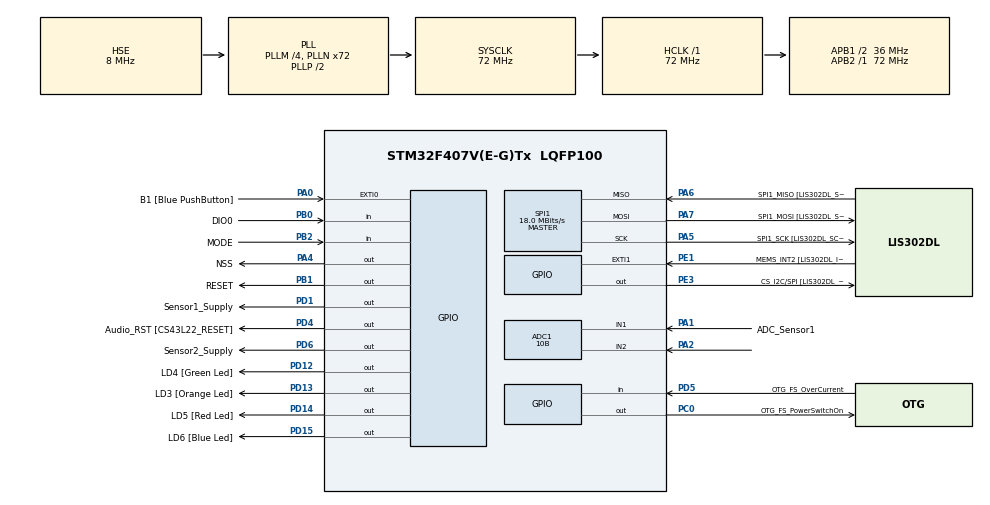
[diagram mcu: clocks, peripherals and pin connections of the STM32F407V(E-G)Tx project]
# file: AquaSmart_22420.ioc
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ADC1.Channel-4\#ChannelRegularConversion=ADC_CHANNEL_1
ADC1.ContinuousConvMode=DISABLE
ADC1.InjNumberOfConversion=0
ADC1.NbrOfConversion=1
ADC1.NbrOfConversionFlag=1
ADC1.Rank-4\#ChannelRegularConversion=1
ADC1.Resolution=ADC_RESOLUTION_10B
ADC1.SamplingTime-4\#ChannelRegularConversion=ADC_SAMPLETIME_3CYCLES
ADC1.master=1
FREERTOS.Queues01=myQueueSensor1,1,sensor_t,0,Dynamic,NULL,NULL;myQueueSensor2,2,sensor_t,0,Dynamic,NULL,NULL;myQueueDataSaved,2,t_bool,0,Dynamic,NULL,NULL
FREERTOS.Tasks01=defaultTask,24,512,StartDefaultTask,Default,NULL,Dynamic,NULL,NULL;myTaskSensor1,10,512,StartTaskSensor1,Default,fsm_s1,Dynamic,NULL,NULL;myTaskLoRa,16,512,StartTaskLoRa,Default,NULL,Dynamic,NULL,NULL;myTaskSensor2,10,512,StartTaskSensor2,Default,fsm_s2,Dynamic,NULL,NULL;myTaskLEDs,11,512,StartTaskLEDs,Default,NULL,Dynamic,NULL,NULL
FREERTOS.configTICK_RATE_HZ=1000
FREERTOS.configUSE_TICKLESS_IDLE=1
Mcu.Family=STM32F4
Mcu.Name=STM32F407V(E-G)Tx
Mcu.Package=LQFP100
NVIC.PriorityGroup=NVIC_PRIORITYGROUP_4
PA0-WKUP.GPIO_Label=B1 [Blue PushButton]
PA0-WKUP.GPIO_ModeDefaultEXTI=GPIO_MODE_EVT_RISING
PA0-WKUP.GPIO_PuPd=GPIO_NOPULL
PA0-WKUP.Signal=GPXTI0
PA1.GPIO_Label=ADC_Sensor1
PA1.Signal=ADCx_IN1
PA10.GPIO_Label=OTG_FS_ID
PA10.GPIO_Mode=GPIO_MODE_AF_PP
PA10.GPIO_PuPd=GPIO_NOPULL
PA10.GPIO_Speed=GPIO_SPEED_FREQ_LOW
PA10.Signal=USB_OTG_FS_ID
PA11.GPIO_Label=OTG_FS_DM
PA11.GPIO_Mode=GPIO_MODE_AF_PP
PA11.GPIO_PuPd=GPIO_NOPULL
PA11.GPIO_Speed=GPIO_SPEED_FREQ_LOW
PA11.Signal=USB_OTG_FS_DM
PA12.GPIO_Label=OTG_FS_DP
PA12.GPIO_Mode=GPIO_MODE_AF_PP
PA12.GPIO_PuPd=GPIO_NOPULL
PA12.GPIO_Speed=GPIO_SPEED_FREQ_LOW
PA12.Signal=USB_OTG_FS_DP
PA13.Mode=Trace_Asynchronous_SW
PA13.Signal=SYS_JTMS-SWDIO
PA14.Mode=Trace_Asynchronous_SW
PA14.Signal=SYS_JTCK-SWCLK
PA2.Signal=ADCx_IN2
PA4.GPIO_Label=NSS
PA4.PinState=GPIO_PIN_SET
PA4.Signal=GPIO_Output
PA5.GPIO_Label=SPI1_SCK [LIS302DL_SCL/SPC]
PA5.GPIO_Mode=GPIO_MODE_AF_PP
PA5.GPIO_PuPd=GPIO_NOPULL
PA5.GPIO_Speed=GPIO_SPEED_FREQ_HIGH
PA5.Mode=Full_Duplex_Master
PA5.Signal=SPI1_SCK
PA6.GPIO_Label=SPI1_MISO [LIS302DL_SDO]
PA6.GPIO_Mode=GPIO_MODE_AF_PP
PA6.GPIO_PuPd=GPIO_NOPULL
PA6.GPIO_Speed=GPIO_SPEED_FREQ_HIGH
PA6.Mode=Full_Duplex_Master
PA6.Signal=SPI1_MISO
PA7.GPIO_Label=SPI1_MOSI [LIS302DL_SDA/SDI/SDO]
PA7.GPIO_Mode=GPIO_MODE_AF_PP
PA7.GPIO_PuPd=GPIO_NOPULL
PA7.GPIO_Speed=GPIO_SPEED_FREQ_HIGH
PA7.Mode=Full_Duplex_Master
PA7.Signal=SPI1_MOSI
PA9.GPIO_Label=VBUS_FS
PA9.GPIO_Mode=GPIO_MODE_INPUT
PA9.GPIO_PuPd=GPIO_NOPULL
PA9.Signal=USB_OTG_FS_VBUS
PB0.GPIO_Label=DIO0
PB0.Signal=GPIO_Input
PB1.GPIO_Label=RESET
PB1.PinState=GPIO_PIN_SET
PB1.Signal=GPIO_Output
PB10.GPIO_Label=CLK_IN [MP45DT02_CLK]
PB10.GPIO_Mode=GPIO_MODE_AF_PP
PB10.GPIO_PuPd=GPIO_NOPULL
PB10.GPIO_Speed=GPIO_SPEED_FREQ_LOW
PB10.Signal=I2S2_CK
PB2.GPIO_Label=MODE
PB2.GPIO_Mode=GPIO_MODE_INPUT
PB2.GPIO_PuPd=GPIO_NOPULL
PB2.Signal=GPIO_Input
PB3.Mode=Trace_Asynchronous_SW
PB3.Signal=SYS_JTDO-SWO
PB6.GPIO_Label=Audio_SCL [CS43L22_SCL]
PB6.GPIO_Mode=GPIO_MODE_AF_OD
PB6.GPIO_PuPd=GPIO_NOPULL
PB6.GPIO_Speed=GPIO_SPEED_FREQ_LOW
PB6.Signal=I2C1_SCL
PB9.GPIO_Label=Audio_SDA [CS43L22_SDA]
PB9.GPIO_Mode=GPIO_MODE_AF_OD
PB9.GPIO_PuPd=GPIO_NOPULL
PB9.GPIO_Speed=GPIO_SPEED_FREQ_LOW
PB9.Signal=I2C1_SDA
PC0.GPIO_Label=OTG_FS_PowerSwitchOn
PC0.GPIO_PuPd=GPIO_NOPULL
PC0.GPIO_Speed=GPIO_SPEED_FREQ_LOW
PC0.PinState=GPIO_PIN_SET
PC0.Signal=GPIO_Output
PC10.GPIO_Label=I2S3_SCK [CS43L22_SCLK]
PC10.GPIO_Mode=GPIO_MODE_AF_PP
PC10.GPIO_PuPd=GPIO_NOPULL
PC10.GPIO_Speed=GPIO_SPEED_FREQ_LOW
PC10.Signal=I2S3_CK
PC12.GPIO_Label=I2S3_SD [CS43L22_SDIN]
PC12.GPIO_Mode=GPIO_MODE_AF_PP
PC12.GPIO_PuPd=GPIO_NOPULL
PC12.GPIO_Speed=GPIO_SPEED_FREQ_LOW
PC12.Signal=I2S3_SD
PC14-OSC32_IN.GPIO_Label=PC14-OSC32_IN
PC14-OSC32_IN.Mode=LSE-External-Clock-Source
PC14-OSC32_IN.Signal=RCC_OSC32_IN
PC15-OSC32_OUT.GPIO_Label=PC15-OSC32_OUT
PC15-OSC32_OUT.Mode=LSE-External-Clock-Source
PC15-OSC32_OUT.Signal=RCC_OSC32_OUT
PC3.GPIO_Label=PDM_OUT [MP45DT02_DOUT]
PC3.GPIO_Mode=GPIO_MODE_AF_PP
PC3.GPIO_PuPd=GPIO_NOPULL
PC3.GPIO_Speed=GPIO_SPEED_FREQ_LOW
PC3.Signal=I2S2_SD
PC7.GPIO_Label=I2S3_MCK [CS43L22_MCLK]
PC7.GPIO_Mode=GPIO_MODE_AF_PP
PC7.GPIO_PuPd=GPIO_NOPULL
PC7.GPIO_Speed=GPIO_SPEED_FREQ_LOW
PC7.Signal=I2S3_MCK
PD1.GPIO_Label=Sensor1_Supply
PD1.Signal=GPIO_Output
PD12.GPIO_Label=LD4 [Green Led]
PD12.GPIO_PuPd=GPIO_NOPULL
PD12.GPIO_Speed=GPIO_SPEED_FREQ_LOW
PD12.Signal=GPIO_Output
PD13.GPIO_Label=LD3 [Orange Led]
PD13.GPIO_PuPd=GPIO_NOPULL
PD13.GPIO_Speed=GPIO_SPEED_FREQ_LOW
PD13.Signal=GPIO_Output
PD14.GPIO_Label=LD5 [Red Led]
PD14.GPIO_PuPd=GPIO_NOPULL
PD14.GPIO_Speed=GPIO_SPEED_FREQ_LOW
PD14.Signal=GPIO_Output
PD15.GPIO_Label=LD6 [Blue Led]
PD15.GPIO_PuPd=GPIO_NOPULL
PD15.GPIO_Speed=GPIO_SPEED_FREQ_LOW
PD15.Signal=GPIO_Output
PD4.GPIO_Label=Audio_RST [CS43L22_RESET]
PD4.GPIO_PuPd=GPIO_NOPULL
PD4.GPIO_Speed=GPIO_SPEED_FREQ_LOW
PD4.Signal=GPIO_Output
PD5.GPIO_Label=OTG_FS_OverCurrent
PD5.GPIO_Mode=GPIO_MODE_INPUT
PD5.GPIO_PuPd=GPIO_NOPULL
PD5.Signal=GPIO_Input
PD6.GPIO_Label=Sensor2_Supply
PD6.Signal=GPIO_Output
PE1.GPIO_Label=MEMS_INT2 [LIS302DL_INT2]
PE1.GPIO_ModeDefaultEXTI=GPIO_MODE_EVT_RISING
PE1.GPIO_PuPd=GPIO_NOPULL
PE1.Signal=GPXTI1
PE3.GPIO_Label=CS_I2C/SPI [LIS302DL_CS_I2C/SPI]
PE3.GPIO_PuPd=GPIO_NOPULL
PE3.GPIO_Speed=GPIO_SPEED_FREQ_LOW
PE3.Signal=GPIO_Output
PH0-OSC_IN.GPIO_Label=PH0-OSC_IN
PH0-OSC_IN.Mode=HSE-External-Oscillator
PH0-OSC_IN.Signal=RCC_OSC_IN
PH1-OSC_OUT.GPIO_Label=PH1-OSC_OUT
PH1-OSC_OUT.Mode=HSE-External-Oscillator
PH1-OSC_OUT.Signal=RCC_OSC_OUT
ProjectManager.HeapSize=0x200
ProjectManager.StackSize=0x400
ProjectManager.TargetToolchain=STM32CubeIDE
RCC.48MHZClocksFreq_Value=48000000
RCC.AHBFreq_Value=72000000
RCC.APB1CLKDivider=RCC_HCLK_DIV2
RCC.APB1Freq_Value=36000000
RCC.APB1TimFreq_Value=72000000
RCC.APB2Freq_Value=72000000
RCC.APB2TimFreq_Value=72000000
RCC.CortexFreq_Value=72000000
RCC.HCLKFreq_Value=72000000
RCC.HSE_VALUE=8000000
RCC.HSI_VALUE=16000000
RCC.LSE_VALUE=32768
RCC.PLLM=4
RCC.PLLN=72
RCC.PLLQ=3
RCC.PLLSourceVirtual=RCC_PLLSOURCE_HSE
RCC.SYSCLKFreq_VALUE=72000000
RCC.SYSCLKSource=RCC_SYSCLKSOURCE_PLLCLK
RCC.VCOOutputFreq_Value=144000000
SH.ADCx_IN1.0=ADC1_IN1,IN1
SH.ADCx_IN2.0=ADC1_IN2,IN2
SPI1.BaudRatePrescaler=SPI_BAUDRATEPRESCALER_4
SPI1.BaudRatePrescaler-Full_Duplex_Master=SPI_BAUDRATEPRESCALER_2
SPI1.CalculateBaudRate=18.0 MBits/s
SPI1.CalculateBaudRate-Full_Duplex_Master=42.0 MBits/s
SPI1.Direction=SPI_DIRECTION_2LINES
SPI1.Mode=SPI_MODE_MASTER
SPI1.Mode-Full_Duplex_Master=SPI_MODE_MASTER
SPI1.VirtualType=VM_MASTER
VP_FREERTOS_VS_CMSIS_V2.Mode=CMSIS_V2
board=STM32F407G-DISC1

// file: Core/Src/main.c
/* USER CODE BEGIN Header */
/**
  ******************************************************************************
  * @file           : main.c
  * @brief          : Main program body
  ******************************************************************************
  * @attention
  *
  * <h2><center>&copy; Copyright (c) 2020 STMicroelectronics.
  * All rights reserved.</center></h2>
  *
  * This software component is licensed by ST under Ultimate Liberty license
  * SLA0044, the "License"; You may not use this file except in compliance with
  * the License. You may obtain a copy of the License at:
  *                             www.st.com/SLA0044
  *
  ******************************************************************************
  */
/* USER CODE END Header */

#include "main.h"
#include "cmsis_os.h"
#include "adc.h"
#include "spi.h"
#include "gpio.h"

/* USER CODE BEGIN Includes */
#include "fsm.h"
#include "fsm_sensor.h"
#include "stdio.h"
#include "SX1278.h"

/* USER CODE END Includes */

/* USER CODE BEGIN PD */

/*PH sensor params*/
/* USER CODE END PD */

/* USER CODE BEGIN PV */

SX1278_hw_t SX1278_hw;
SX1278_t SX1278;

rbuf_t data_ring_buff;

/* USER CODE END PV */

void SystemClock_Config(void);
void MX_FREERTOS_Init(void);

int main(void)
{
  /* USER CODE BEGIN 1 */
  //fsm_t* fsm_LoRa;

  /* USER CODE END 1 */

  /* MCU Configuration--------------------------------------------------------*/

  /* Reset of all peripherals, Initializes the Flash interface and the Systick. */
  HAL_Init();

  /* Configure the system clock */
  SystemClock_Config();

  /* Initialize all configured peripherals */
  MX_GPIO_Init();
  MX_SPI1_Init();
  MX_ADC1_Init();

  /* Init scheduler */
  osKernelInitialize();  /* Call init function for freertos objects (in freertos.c) */
  MX_FREERTOS_Init();
  /* Start scheduler */
  osKernelStart();

  /* We should never get here as control is now taken by the scheduler */
  /* Infinite loop */
  while (1)
  {

  }
}

void SystemClock_Config(void)
{
  RCC_OscInitTypeDef RCC_OscInitStruct = {0};
  RCC_ClkInitTypeDef RCC_ClkInitStruct = {0};

  /** Configure the main internal regulator output voltage
  */
  __HAL_RCC_PWR_CLK_ENABLE();
  __HAL_PWR_VOLTAGESCALING_CONFIG(PWR_REGULATOR_VOLTAGE_SCALE1);
  /** Initializes the CPU, AHB and APB busses clocks
  */
  RCC_OscInitStruct.OscillatorType = RCC_OSCILLATORTYPE_HSE;
  RCC_OscInitStruct.HSEState = RCC_HSE_ON;
  RCC_OscInitStruct.PLL.PLLState = RCC_PLL_ON;
  RCC_OscInitStruct.PLL.PLLSource = RCC_PLLSOURCE_HSE;
  RCC_OscInitStruct.PLL.PLLM = 4;
  RCC_OscInitStruct.PLL.PLLN = 72;
  RCC_OscInitStruct.PLL.PLLP = RCC_PLLP_DIV2;
  RCC_OscInitStruct.PLL.PLLQ = 3;
  if (HAL_RCC_OscConfig(&RCC_OscInitStruct) != HAL_OK)
  {
    Error_Handler();
  }
  /** Initializes the CPU, AHB and APB busses clocks
  */
  RCC_ClkInitStruct.ClockType = RCC_CLOCKTYPE_HCLK|RCC_CLOCKTYPE_SYSCLK
                              |RCC_CLOCKTYPE_PCLK1|RCC_CLOCKTYPE_PCLK2;
  RCC_ClkInitStruct.SYSCLKSource = RCC_SYSCLKSOURCE_PLLCLK;
  RCC_ClkInitStruct.AHBCLKDivider = RCC_SYSCLK_DIV1;
  RCC_ClkInitStruct.APB1CLKDivider = RCC_HCLK_DIV2;
  RCC_ClkInitStruct.APB2CLKDivider = RCC_HCLK_DIV1;

  if (HAL_RCC_ClockConfig(&RCC_ClkInitStruct, FLASH_LATENCY_2) != HAL_OK)
  {
    Error_Handler();
  }
}

/* USER CODE BEGIN 4 */

void adc_config_ch1(void)
{
	ADC_ChannelConfTypeDef sConfig = {0};

	sConfig.Channel = ADC_CHANNEL_1;
	sConfig.Rank = 1;
	sConfig.SamplingTime = ADC_SAMPLETIME_3CYCLES;

	if (HAL_ADC_ConfigChannel(&hadc1, &sConfig) != HAL_OK)
	{
		Error_Handler();
	}
}

void adc_config_ch2(void)
{

	ADC_ChannelConfTypeDef sConfig = {0};

	sConfig.Channel = ADC_CHANNEL_2;
	sConfig.Rank = 1;
	sConfig.SamplingTime = ADC_SAMPLETIME_3CYCLES;

	if (HAL_ADC_ConfigChannel(&hadc1, &sConfig) != HAL_OK)
	{
		Error_Handler();
	}
}

void save_new_data(sensor_buf_t data)
{

	ringbuf_put(&data_ring_buff, data);
}

void Lora_inicio(int init){
	int ret;
	//initialize LoRa module

	ringbuf_init(&data_ring_buff, RBUF_SIZE);

	SX1278_hw.dio0.port = DIO0_GPIO_Port;
	SX1278_hw.dio0.pin = DIO0_Pin;
	SX1278_hw.nss.port = NSS_GPIO_Port;
	SX1278_hw.nss.pin = NSS_Pin;
	SX1278_hw.reset.port = RESET_GPIO_Port;
	SX1278_hw.reset.pin = RESET_Pin;
	SX1278_hw.spi = &hspi1;
	SX1278.readBytes=0;
	SX1278.rxBuffer[0]=0;
	SX1278.hw = &SX1278_hw;

//	printf("Configuring LoRa module\r\n");
//	SX1278_begin(&SX1278, SX1278_433MHZ, SX1278_POWER_17DBM, SX1278_LORA_SF_8,
//			SX1278_LORA_BW_20_8KHZ, 10);
//	printf("Done configuring LoRaModule\r\n");
//	while (ret!=1){
//		if (init == 1) {
//			ret = SX1278_LoRaEntryTx(&SX1278, 16, 2000);
//		} else {
//			ret = SX1278_LoRaEntryRx(&SX1278, 16, 2000); //tiene que valer 1
//		}
//		printf("ret: %d\n", ret);
//	}
}

void Lora_envia(void){
	int ret;
	char buffer[64];
	int message_length;
	sensor_buf_t data;

	data = ringbuf_get(&data_ring_buff);

	message_length = sprintf(buffer, "AquaSmart %d %d %d %d %d %d %d", data.Device_ID, data.Sensor_ID, data.measure, data.alarm, data.error, data.threshold_L, data.threshold_H);
//	ret = SX1278_LoRaEntryTx(&SX1278, message_length, 2000);
//	printf("Sending %s\r\n", buffer);
//	ret = SX1278_LoRaTxPacket(&SX1278, (uint8_t *) buffer, message_length, 2000);
}

void Lora_recibe(void){
	int ret;
	char buffer[64];
//	ret = SX1278_LoRaRxPacket(&SX1278);
//	if (ret > 0) {
//		SX1278_read(&SX1278, (uint8_t *) buffer, ret);
//		printf("Content (%d): %s\r\n", ret, buffer);
//	}
}

/* USER CODE END 4 */

void Error_Handler(void)
{
}

/************************ (C) COPYRIGHT STMicroelectronics *****END OF FILE****/

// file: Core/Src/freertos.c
/* USER CODE BEGIN Header */
/**
  ******************************************************************************
  * File Name          : freertos.c
  * Description        : Code for freertos applications
  ******************************************************************************
  * @attention
  *
  * <h2><center>&copy; Copyright (c) 2020 STMicroelectronics.
  * All rights reserved.</center></h2>
  *
  * This software component is licensed by ST under Ultimate Liberty license
  * SLA0044, the "License"; You may not use this file except in compliance with
  * the License. You may obtain a copy of the License at:
  *                             www.st.com/SLA0044
  *
  ******************************************************************************
  */
/* USER CODE END Header */

#include "FreeRTOS.h"
#include "task.h"
#include "main.h"
#include "cmsis_os.h"

/* USER CODE BEGIN Includes */
#include "fsm.h"
#include "fsm_sensor.h"

/* USER CODE END Includes */

/* USER CODE BEGIN Variables */
t_bool sensor1_ON, sensor2_ON;

/* USER CODE END Variables */
/* Definitions for defaultTask */
osThreadId_t defaultTaskHandle;
const osThreadAttr_t defaultTask_attributes = {
  .name = "defaultTask",
  .priority = (osPriority_t) osPriorityNormal,
  .stack_size = 512 * 4
};
/* Definitions for myTaskSensor1 */
osThreadId_t myTaskSensor1Handle;
const osThreadAttr_t myTaskSensor1_attributes = {
  .name = "myTaskSensor1",
  .priority = (osPriority_t) osPriorityLow2,
  .stack_size = 512 * 4
};
/* Definitions for myTaskLoRa */
osThreadId_t myTaskLoRaHandle;
const osThreadAttr_t myTaskLoRa_attributes = {
  .name = "myTaskLoRa",
  .priority = (osPriority_t) osPriorityBelowNormal,
  .stack_size = 512 * 4
};
/* Definitions for myTaskSensor2 */
osThreadId_t myTaskSensor2Handle;
const osThreadAttr_t myTaskSensor2_attributes = {
  .name = "myTaskSensor2",
  .priority = (osPriority_t) osPriorityLow2,
  .stack_size = 512 * 4
};
/* Definitions for myTaskLEDs */
osThreadId_t myTaskLEDsHandle;
const osThreadAttr_t myTaskLEDs_attributes = {
  .name = "myTaskLEDs",
  .priority = (osPriority_t) osPriorityLow3,
  .stack_size = 512 * 4
};
/* Definitions for myQueueSensor1 */
osMessageQueueId_t myQueueSensor1Handle;
const osMessageQueueAttr_t myQueueSensor1_attributes = {
  .name = "myQueueSensor1"
};
/* Definitions for myQueueSensor2 */
osMessageQueueId_t myQueueSensor2Handle;
const osMessageQueueAttr_t myQueueSensor2_attributes = {
  .name = "myQueueSensor2"
};
/* Definitions for myQueueDataSaved */
osMessageQueueId_t myQueueDataSavedHandle;
const osMessageQueueAttr_t myQueueDataSaved_attributes = {
  .name = "myQueueDataSaved"
};

void StartDefaultTask(void *argument);
void StartTaskSensor1(void *argument);
void StartTaskLoRa(void *argument);
void StartTaskSensor2(void *argument);
void StartTaskLEDs(void *argument);

void MX_FREERTOS_Init(void); /* (MISRA C 2004 rule 8.1) */

/* Pre/Post sleep processing prototypes */
void PreSleepProcessing(uint32_t *ulExpectedIdleTime);
void PostSleepProcessing(uint32_t *ulExpectedIdleTime);

/* USER CODE BEGIN PREPOSTSLEEP */
__weak void PreSleepProcessing(uint32_t *ulExpectedIdleTime)
{
/* place for user code */
}

__weak void PostSleepProcessing(uint32_t *ulExpectedIdleTime)
{
/* place for user code */
}
/* USER CODE END PREPOSTSLEEP */

void MX_FREERTOS_Init(void) {
  /* USER CODE BEGIN Init */
	  fsm_sensor_t fsm_s1;
	  fsm_sensor_t fsm_s2;
  /* USER CODE END Init */

  /* Create the queue(s) */
  /* creation of myQueueSensor1 */
  myQueueSensor1Handle = osMessageQueueNew (1, sizeof(sensor_t), &myQueueSensor1_attributes);

  /* creation of myQueueSensor2 */
  myQueueSensor2Handle = osMessageQueueNew (2, sizeof(sensor_t), &myQueueSensor2_attributes);

  /* creation of myQueueDataSaved */
  myQueueDataSavedHandle = osMessageQueueNew (2, sizeof(t_bool), &myQueueDataSaved_attributes);

  /* Create the thread(s) */
  /* creation of defaultTask */
  defaultTaskHandle = osThreadNew(StartDefaultTask, NULL, &defaultTask_attributes);

  /* creation of myTaskSensor1 */
  myTaskSensor1Handle = osThreadNew(StartTaskSensor1, &fsm_s1, &myTaskSensor1_attributes);

  /* creation of myTaskLoRa */
  myTaskLoRaHandle = osThreadNew(StartTaskLoRa, NULL, &myTaskLoRa_attributes);

  /* creation of myTaskSensor2 */
//  myTaskSensor2Handle = osThreadNew(StartTaskSensor2, &fsm_s2, &myTaskSensor2_attributes);

  /* creation of myTaskLEDs */
  myTaskLEDsHandle = osThreadNew(StartTaskLEDs, NULL, &myTaskLEDs_attributes);

}

void StartDefaultTask(void *argument)
{
  for(;;)
  {
    osDelay(1);
  }
}

void StartTaskSensor1(void *argument)
{
	  /* USER CODE BEGIN StartTaskSensor1 */
		uint32_t tDelay = 0;
		sensor_t sensor1;
		t_bool sensor1_measured = FALSE;

	    fsm_sensor_t* fsm_s1 = (fsm_sensor_t*)argument;

	    sensor2_ON = FALSE;

	    sensor_initialization(&sensor1, ID_Device, ID_ph_sensor, Sensor1_Supply_Pin, ADC_Channel1, range_ph_acido, range_ph_basico, range_ph_max, ph_setup_period, ph_sleep_period, ph_measure_period, ph_average);
	    fsm_sensor_init(fsm_s1, &sensor1);

	    tDelay = osKernelGetTickCount();
	/* Infinite loop */
	  /* Infinite loop */
	  for(;;)
	  {

		/*Select ADC Channel 1*/

		if(fsm_s1->fsm.current_state <= 4 && sensor2_ON == FALSE)
		{
			sensor1_ON = TRUE;
			adc_config_ch1();
			fsm_fire(&(fsm_s1->fsm));
			osMessageQueuePut (myQueueSensor1Handle, fsm_s1->param, 0, 0);
			osMessageQueuePut(myQueueDataSavedHandle, (t_bool*) &sensor1_measured, 0, 0);
		}
		else sensor1_ON = FALSE;

		if(fsm_s1->fsm.current_state > 4)
		{
			sensor1_measured = TRUE;
			fsm_fire(&(fsm_s1->fsm));
			osMessageQueuePut (myQueueSensor1Handle, fsm_s1->param, 0, 0);
			osMessageQueuePut(myQueueDataSavedHandle, (t_bool*) &sensor1_measured, 0, 0);
		}
		//	HAL_GPIO_TogglePin(LD6_GPIO_Port, LD6_Pin);
	    tDelay += pdMS_TO_TICKS(SENSOR1_TIME);
	    osDelayUntil(tDelay);
	  }
}

void StartTaskLoRa(void *argument)
{
	 /* USER CODE BEGIN StartTaskLoRa */
	  uint32_t tDelay = 0;
	  sensor_buf_t data2send;
	  tDelay = osKernelGetTickCount();
	  uint8_t master;
	  t_bool sensor1_state = FALSE;
	  t_bool sensor2_state = FALSE;

	  /*master 1 for all devices, 0 for GW*/
	  master = 1;

	  Lora_inicio(master);  //0 es esclavo, 1 es maestro

	  /* Infinite loop */
	  for(;;)
	  {
		  osMessageQueueGet(myQueueDataSavedHandle, &sensor1_state, 0, 0);
	//	  osMessageQueueGet(myQueueDataSavedHandle, &sensor2_state, 0, 0);

		if (master == 1)
		{
//			if(sensor1_state && sensor2_state)
			if(sensor1_state)
			{
				for(uint8_t i = 0; i<NUMBER_OF_SENSORS; i++)
				{
					Lora_envia();
				}
			}
		}
		else
		{
			Lora_recibe();
		}
		tDelay += pdMS_TO_TICKS(SEND_DATA_TIME);
	    osDelayUntil(tDelay);
	  }
  /* USER CODE END StartTaskLoRa */
}

//void StartTaskSensor2(void *argument)
//{
//	uint32_t tDelay = 0;
//	sensor_t sensor2;
//	t_bool sensor2_measured = FALSE;
//
//    fsm_sensor_t* fsm_s2 = (fsm_sensor_t*)argument;
//
//	sensor_initialization(&sensor2, ID_Device, ID_turbidity_sensor, Sensor2_Supply_Pin, ADC_Channel2, range_turb_min, range_turb_basico, range_turb_max, turb_setup_period, turb_sleep_period, turb_measure_period, turb_average);
//    fsm_sensor_init(fsm_s2, &sensor2);
//
//    tDelay = osKernelGetTickCount();
///* Infinite loop */
//  /* Infinite loop */
//  for(;;)
//  {
//
//	/*Select ADC Channel 1*/
//
//	if(fsm_s2->fsm.current_state <= 4 && sensor1_ON == FALSE)
//	{
//		sensor2_ON = TRUE;
//		adc_config_ch2();
//		fsm_fire(&(fsm_s2->fsm));
//		osMessageQueuePut (myQueueSensor1Handle, fsm_s2->param, 0, 0);
//		osMessageQueuePut(myQueueDataSavedHandle, (t_bool*) &sensor2_measured, 0, 0);
//	}
//	else sensor2_ON = FALSE;
//
//	if(fsm_s2->fsm.current_state > 4)
//	{
//		sensor2_measured = TRUE;
//		fsm_fire(&(fsm_s2->fsm));
//		osMessageQueuePut (myQueueSensor1Handle, fsm_s2->param, 0, 0);
//		osMessageQueuePut(myQueueDataSavedHandle, (t_bool*) &sensor2_measured, 0, 0);
//	}
//	//	HAL_GPIO_TogglePin(LD6_GPIO_Port, LD6_Pin);
//    tDelay += pdMS_TO_TICKS(SENSOR2_TIME);
//    osDelayUntil(tDelay);
//  }
//}

void StartTaskLEDs(void *argument)
{
	  /* USER CODE BEGIN StartTaskLEDs */
		uint32_t tDelay = 0;
		sensor_t sensor1;
		sensor_t sensor2;

		tDelay = osKernelGetTickCount();

	  /* Infinite loop */
	  for(;;)
	  {
			osMessageQueueGet (myQueueSensor1Handle, &sensor1, NULL, 0);
			osMessageQueueGet (myQueueSensor2Handle, &sensor2, NULL, 0);

//			if(sensor1.measuring == TRUE || sensor2.measuring == TRUE) /*LED BLUE => MEASURING*/
			if(sensor1.measuring == TRUE) /*LED BLUE => MEASURING*/
			{
				HAL_GPIO_WritePin(LD6_GPIO_Port, LD6_Pin, SET);
				HAL_GPIO_WritePin(LD4_GPIO_Port, LD4_Pin, RESET);
			}
			else
			{
				if(sensor1.sleeping == TRUE)
//				if(sensor1.sleeping == TRUE && sensor2.sleeping == TRUE)
				{
					HAL_GPIO_WritePin(LD6_GPIO_Port, LD6_Pin, RESET);
//					if(sensor1.error == TRUE || sensor2.error == TRUE) /*RED LED => SLEEPING SOMETHING WRONG*/
					if(sensor1.error == TRUE) /*RED LED => SLEEPING SOMETHING WRONG*/
					{
						HAL_GPIO_WritePin(LD5_GPIO_Port, LD5_Pin, SET);
						HAL_GPIO_WritePin(LD4_GPIO_Port, LD4_Pin, RESET);
					}
					else	/*GREEN LED => SLEEPING ALL OK*/
					{
						HAL_GPIO_WritePin(LD5_GPIO_Port, LD5_Pin, RESET);
						HAL_GPIO_WritePin(LD4_GPIO_Port, LD4_Pin, SET);
					}

				}
				else /*STATE UNREACHABLE*/
				{
					HAL_GPIO_WritePin(LD6_GPIO_Port, LD6_Pin, RESET);
					HAL_GPIO_WritePin(LD4_GPIO_Port, LD4_Pin, RESET);
				}
			}

//			if(sensor1.alarm == TRUE || sensor2.alarm == TRUE) HAL_GPIO_WritePin(LD3_GPIO_Port, LD3_Pin, SET);
			if(sensor1.alarm == TRUE) HAL_GPIO_WritePin(LD3_GPIO_Port, LD3_Pin, SET);
			else HAL_GPIO_WritePin(LD3_GPIO_Port, LD3_Pin, RESET);

			tDelay += pdMS_TO_TICKS(SENSOR2_TIME);
		    osDelayUntil(tDelay);
	  }
	  /* USER CODE END StartTaskLEDs */
}

/************************ (C) COPYRIGHT STMicroelectronics *****END OF FILE****/
